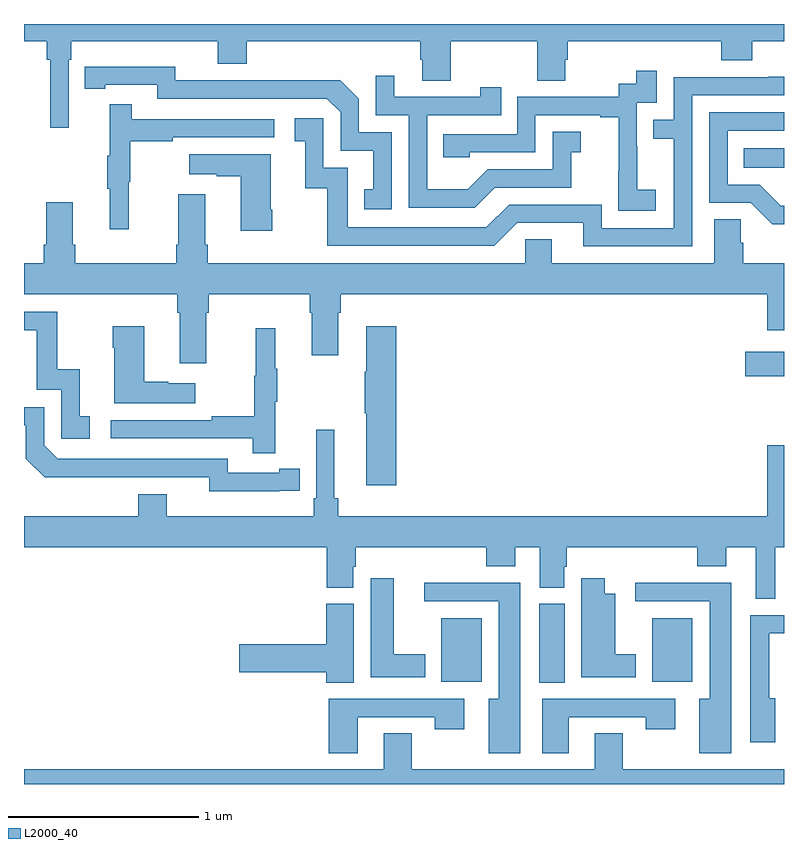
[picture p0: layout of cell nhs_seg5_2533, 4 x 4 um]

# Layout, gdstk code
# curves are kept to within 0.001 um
import gdstk
lib = gdstk.Library(unit=1e-6, precision=1e-09)
def R(c, l, rs):  # rectangles x0, y0, x1, y1
    for r in rs: c.add(gdstk.rectangle(r[:2], r[2:], *l))
def P(c, l, *ps):  # polygons
    for p in ps: c.add(gdstk.Polygon(p, *l))
L2000_40 = (2000, 40)

nhs_seg5_2533 = lib.new_cell('nhs_seg5_2533')
R(nhs_seg5_2533, L2000_40, [(259.712,905.332,259.846,905.748), (259.196,905.336,259.408,905.671), (260.306,905.336,260.518,905.671), (260.796,906.946,261,907.075), (260.788,908.042,261,908.146)])
P(nhs_seg5_2533, L2000_40, [(257.235,908.612),(257.249,908.612),(257.249,908.708),(258.02,908.708),(258.02,908.591),(258.173,908.591),(258.173,908.708),(259.085,908.708),(259.085,908.61),(259.097,908.61),(259.097,908.5),(259.245,908.5),(259.245,908.708),(259.702,908.708),(259.702,908.5),(259.849,908.5),(259.849,908.61),(259.862,908.61),(259.862,908.708),(260.669,908.708),(260.669,908.609),(260.834,908.609),(260.834,908.708),(261,908.708),(261,908.799),(257,908.799),(257,908.708),(257.119,908.708),(257.119,908.612),(257.138,908.612),(257.138,908.253),(257.235,908.253)],
  [(258.936,908.229),(258.762,908.229),(258.762,908.406),(258.664,908.504),(258.256,908.504),(258.256,908.502),(257.796,908.502),(257.796,908.575),(257.32,908.574),(257.32,908.458),(257.428,908.458),(257.428,908.478),(257.7,908.478),(257.7,908.406),(258.594,908.406),(258.666,908.334),(258.666,908.133),(258.839,908.133),(258.839,907.929),(258.79,907.929),(258.79,907.824),(258.936,907.824)],
  [(260.326,907.927),(260.228,907.927),(260.228,908.156),(260.226,908.156),(260.226,908.385),(260.331,908.385),(260.331,908.554),(260.223,908.554),(260.223,908.484),(260.13,908.484),(260.13,908.415),(259.596,908.415),(259.596,908.22),(259.207,908.22),(259.207,908.097),(259.347,908.097),(259.347,908.124),(259.692,908.124),(259.692,908.319),(260.033,908.319),(260.033,908.307),(260.129,908.307),(260.129,908.023),(260.128,908.023),(260.128,907.817),(260.326,907.817)],
  [(259.477,907.938),(259.881,907.938),(259.881,908.123),(259.93,908.123),(259.93,908.233),(259.782,908.233),(259.782,908.034),(259.44,908.034),(259.336,907.93),(259.122,907.93),(259.122,908.319),(259.511,908.319),(259.511,908.467),(259.4,908.467),(259.4,908.415),(258.949,908.415),(258.949,908.527),(258.852,908.527),(258.852,908.319),(259.026,908.319),(259.026,907.833),(259.372,907.833)],
  [(260.517,908.424),(261,908.424),(261,908.522),(260.917,908.522),(260.917,908.52),(260.421,908.52),(260.421,908.295),(260.311,908.295),(260.311,908.194),(260.421,908.194),(260.421,907.725),(260.04,907.725),(260.04,907.848),(259.554,907.848),(259.434,907.728),(258.705,907.728),(258.705,908.043),(258.576,908.043),(258.576,908.302),(258.426,908.302),(258.426,908.181),(258.479,908.181),(258.479,907.935),(258.597,907.935),(258.597,907.632),(259.476,907.632),(259.596,907.752),(259.943,907.752),(259.943,907.629),(260.517,907.629)],
  [(257.552,907.968),(257.56,907.968),(257.56,908.182),(257.783,908.182),(257.783,908.202),(258.316,908.202),(258.316,908.298),(257.567,908.298),(257.567,908.377),(257.45,908.377),(257.45,908.105),(257.439,908.105),(257.439,907.931),(257.45,907.931),(257.45,907.719),(257.552,907.719)],
  [(261,907.842),(260.983,907.842),(260.872,907.953),(260.703,907.953),(260.703,908.238),(261,908.238),(261,908.334),(260.607,908.334),(260.607,907.857),(260.826,907.857),(260.939,907.745),(261,907.745)],
  [(258.306,907.822),(258.298,907.822),(258.298,908.113),(257.871,908.113),(257.871,908.009),(258.014,908.009),(258.014,907.999),(258.14,907.999),(258.14,907.71),(258.306,907.71)],
  [(257.813,907.903),(257.813,907.636),(257.801,907.636),(257.801,907.54),(257.27,907.54),(257.27,907.636),(257.257,907.636),(257.257,907.861),(257.117,907.861),(257.117,907.636),(257.105,907.636),(257.105,907.54),(257,907.54),(257,907.376),(257.807,907.376),(257.807,907.28),(257.819,907.28),(257.819,907.014),(257.959,907.014),(257.959,907.28),(257.972,907.28),(257.972,907.376),(258.503,907.376),(258.503,907.28),(258.515,907.28),(258.515,907.056),(258.655,907.056),(258.655,907.28),(258.668,907.28),(258.668,907.376),(260.912,907.376),(260.912,907.188),(261,907.188),(261,907.54),(260.786,907.54),(260.786,907.649),(260.772,907.649),(260.772,907.772),(260.633,907.772),(260.633,907.54),(259.777,907.54),(259.777,907.667),(259.638,907.667),(259.638,907.54),(257.966,907.54),(257.966,907.636),(257.953,907.636),(257.953,907.903)],
  [(257.347,906.735),(257.294,906.735),(257.294,906.982),(257.176,906.982),(257.176,907.284),(257,907.284),(257,907.188),(257.067,907.188),(257.067,906.873),(257.196,906.873),(257.196,906.615),(257.347,906.615)],
  [(258.959,907.207),(258.8,907.207),(258.8,906.968),(258.793,906.968),(258.793,906.751),(258.8,906.751),(258.8,906.372),(258.959,906.372)],
  [(257.902,906.907),(257.759,906.907),(257.759,906.917),(257.632,906.917),(257.632,907.207),(257.467,907.207),(257.467,907.094),(257.474,907.094),(257.474,906.803),(257.902,906.803)],
  [(258.323,906.811),(258.334,906.811),(258.334,906.985),(258.323,906.985),(258.323,907.198),(258.22,907.198),(258.22,906.948),(258.213,906.948),(258.213,906.734),(257.989,906.734),(257.989,906.714),(257.457,906.714),(257.457,906.618),(258.205,906.618),(258.205,906.54),(258.323,906.54)],
  [(258.344,906.342),(258.452,906.342),(258.452,906.458),(258.344,906.458),(258.344,906.438),(258.072,906.438),(258.072,906.51),(257.178,906.51),(257.106,906.582),(257.106,906.783),(257,906.783),(257,906.687),(257.01,906.687),(257.01,906.51),(257.108,906.413),(257.976,906.414),(257.976,906.341)],
  [(258.537,906.304),(258.524,906.304),(258.524,906.208),(257.752,906.208),(257.752,906.325),(257.6,906.325),(257.6,906.208),(257,906.208),(257,906.044),(258.593,906.044),(258.593,905.833),(258.733,905.833),(258.733,905.943),(258.746,905.943),(258.746,906.044),(259.433,906.044),(259.433,905.945),(259.585,905.945),(259.585,906.044),(259.715,906.044),(259.715,905.833),(259.843,905.833),(259.843,905.943),(259.856,905.943),(259.856,906.044),(260.543,906.044),(260.543,905.945),(260.695,905.945),(260.695,906.044),(260.852,906.044),(260.852,905.773),(260.953,905.773),(260.953,906.044),(261,906.044),(261,906.583),(260.912,906.583),(260.912,906.208),(258.653,906.208),(258.653,906.304),(258.634,906.304),(258.634,906.664),(258.537,906.664)],
  [(259.111,905.482),(258.946,905.482),(258.946,905.881),(258.824,905.881),(258.824,905.36),(259.111,905.36)],
  [(260.221,905.482),(260.113,905.482),(260.113,905.8),(260.056,905.8),(260.056,905.881),(259.934,905.881),(259.934,905.36),(260.221,905.36)],
  [(260.722,905.858),(260.217,905.858),(260.217,905.76),(260.609,905.76),(260.609,905.248),(260.555,905.248),(260.555,904.962),(260.722,904.962)],
  [(259.612,905.858),(259.107,905.858),(259.107,905.76),(259.499,905.76),(259.499,905.248),(259.445,905.248),(259.445,904.962),(259.612,904.962)],
  [(258.736,905.748),(258.59,905.748),(258.59,905.534),(258.132,905.534),(258.132,905.387),(258.59,905.387),(258.59,905.332),(258.736,905.332)],
  [(260.953,905.251),(260.923,905.251),(260.923,905.592),(261,905.592),(261,905.688),(260.822,905.688),(260.822,905.019),(260.953,905.019)],
  [(258.757,905.151),(259.162,905.151),(259.162,905.088),(259.318,905.088),(259.318,905.247),(258.605,905.247),(258.605,904.962),(258.757,904.962)],
  [(259.867,905.151),(260.272,905.151),(260.272,905.088),(260.428,905.088),(260.428,905.247),(259.727,905.247),(259.727,904.962),(259.867,904.962)],
  [(261,904.876),(260.151,904.876),(260.151,905.066),(260.003,905.066),(260.003,904.876),(259.041,904.876),(259.041,905.066),(258.893,905.066),(258.893,904.876),(257,904.876),(257,904.799),(261,904.799)])

lib.write_gds('nhs_seg5_2533.gds')
